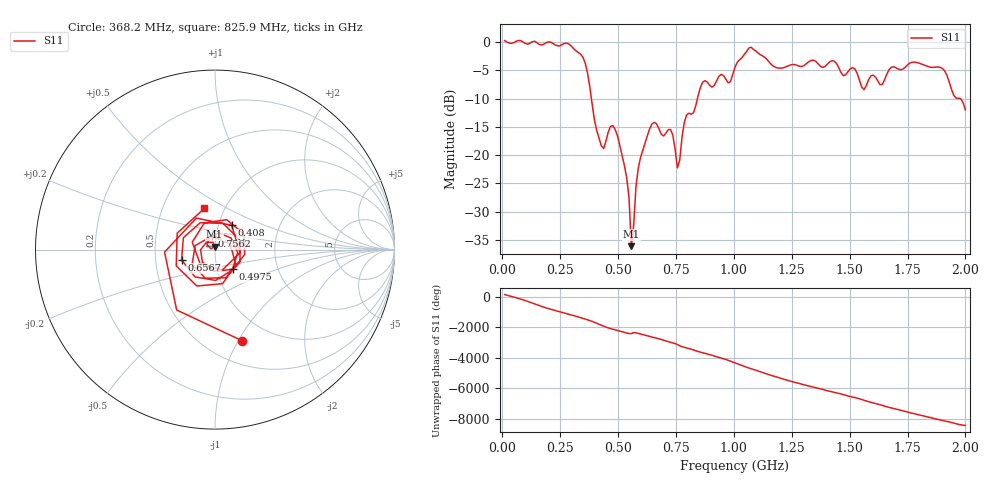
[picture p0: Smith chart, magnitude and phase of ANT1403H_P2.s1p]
!Created with skrf (http://scikit-rf.org).
# Hz S RI R 50.0
!freq ReS11 ImS11
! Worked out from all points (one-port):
!   201 points, 10 MHz to 2 GHz, reference 50 ohm
!   lowest |S11| = -36.1 dB at 557.2 MHz (marker M1), VSWR 1.03, Z = 49.8 + j1.54 ohm
!   |S11| at or under -10 dB: 384.8 MHz to 842.8 MHz (458 MHz wide, 74.6 % of centre); 1.975 GHz to end of sweep
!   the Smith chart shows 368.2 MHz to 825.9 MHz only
!   S11 on the Smith chart (normalised r, x): 368.2 MHz: 0.74, -1.04; 408 MHz: 1.16, +0.32; 497.6 MHz: 1.19, -0.27; 656.8 MHz: 0.68, -0.08; 756.2 MHz: 0.95, +0.14; 825.9 MHz: 0.80, +0.39
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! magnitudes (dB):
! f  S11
! 10 MHz  0.2
! 258.8 MHz  -0.4
! 338.4 MHz  -2.2
! 368.2 MHz  -5.5
! 408 MHz  -15.7
! 437.9 MHz  -18.8
! 467.7 MHz  -14.9
! 497.6 MHz  -16.6
! 507.5 MHz  -18.3
! 547.3 MHz  -27.6
! 557.2 MHz  -36.1
! 587.1 MHz  -22.4
! 656.8 MHz  -14.2
! 726.4 MHz  -15.5
! 756.2 MHz  -22.3
! 786.1 MHz  -14.2
! 825.9 MHz  -12.5
! 865.7 MHz  -7.1
! 975.1 MHz  -7.2
! 1.005 GHz  -4.5
! 1.075 GHz  -0.9
! 1.184 GHz  -4.5
! 1.254 GHz  -4.0
! 1.502 GHz  -4.8
! 1.562 GHz  -8.4
! 1.751 GHz  -4.0
! 1.901 GHz  -4.7
! 2 GHz  -12.0
